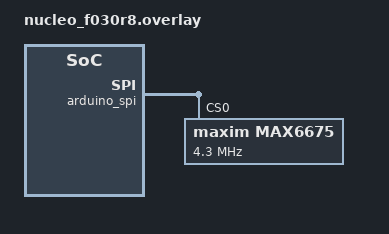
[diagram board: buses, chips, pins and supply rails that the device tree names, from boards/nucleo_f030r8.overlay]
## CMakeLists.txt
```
# Copyright (c) 2021 Teslabs Engineering S.L.
# SPDX-License-Identifier: Apache-2.0

cmake_minimum_required(VERSION 3.28.0)
find_package(Zephyr REQUIRED HINTS $ENV{ZEPHYR_BASE})
project(max6675)

FILE(GLOB app_sources src/*.c)
target_sources(app PRIVATE ${app_sources})
```

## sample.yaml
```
sample:
  name: MAX6675 K-thermocouple to digital converter
tests:
  sample.sensor.max6675:
    tags: sensors
    harness: console
    depends_on:
      - spi
    platform_allow:
      - nucleo_f030r8
    harness_config:
      type: multi_line
      ordered: true
      regex:
        - "Temperature: ([0-9\\.]+) C"
      fixture: fixture_spi_max6675
```

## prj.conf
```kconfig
CONFIG_CBPRINTF_FP_SUPPORT=y
CONFIG_SPI=y
CONFIG_SENSOR=y
```

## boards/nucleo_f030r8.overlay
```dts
/*
 * Copyright (c) 2021 Teslabs Engineering S.L.
 *
 * SPDX-License-Identifier: Apache-2.0
 */

&arduino_spi {
	max6675@0 {
		compatible = "maxim,max6675";
		reg = <0>;
		spi-max-frequency = <4300000>;
	};
};
```

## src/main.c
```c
/*
 * Copyright (c) 2021 Teslabs Engineering S.L.
 *
 * SPDX-License-Identifier: Apache-2.0
 */

#include <stdio.h>

#include <zephyr/kernel.h>
#include <zephyr/device.h>
#include <zephyr/drivers/sensor.h>

/**
 * @file Sample app using the MAX6675 cold-junction-compensated K-thermocouple
 *	 to digital converter.
 *
 * This app will read and display the sensor temperature every second.
 */

int main(void)
{
	const struct device *const dev = DEVICE_DT_GET_ONE(maxim_max6675);
	struct sensor_value val;

	if (!device_is_ready(dev)) {
		printk("sensor: device not ready.\n");
		return 0;
	}

	while (1) {
		int ret;

		ret = sensor_sample_fetch_chan(dev, SENSOR_CHAN_AMBIENT_TEMP);
		if (ret < 0) {
			printf("Could not fetch temperature (%d)\n", ret);
			return 0;
		}

		ret = sensor_channel_get(dev, SENSOR_CHAN_AMBIENT_TEMP, &val);
		if (ret < 0) {
			printf("Could not get temperature (%d)\n", ret);
			return 0;
		}

		printf("Temperature: %.2f C\n", sensor_value_to_double(&val));

		k_sleep(K_MSEC(1000));
	}
	return 0;
}
```
